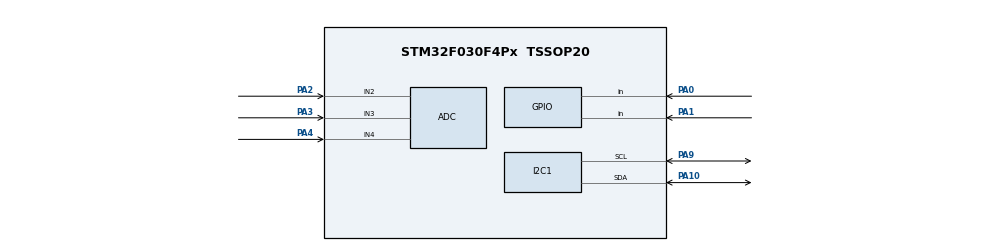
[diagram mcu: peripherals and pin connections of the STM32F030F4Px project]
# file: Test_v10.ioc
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ADC.ContinuousConvMode=ENABLE
ADC.DMAContinuousRequests=ENABLE
ADC.EOCSelection=ADC_EOC_SEQ_CONV
ADC.EnableAnalogWatchDog=false
ADC.SamplingTime=ADC_SAMPLETIME_239CYCLES_5
Dma.ADC.0.Direction=DMA_PERIPH_TO_MEMORY
Dma.ADC.0.Instance=DMA1_Channel1
Dma.ADC.0.MemDataAlignment=DMA_MDATAALIGN_HALFWORD
Dma.ADC.0.MemInc=DMA_MINC_ENABLE
Dma.ADC.0.Mode=DMA_CIRCULAR
Dma.ADC.0.PeriphDataAlignment=DMA_PDATAALIGN_HALFWORD
Dma.ADC.0.PeriphInc=DMA_PINC_DISABLE
Dma.ADC.0.Priority=DMA_PRIORITY_LOW
Dma.Request0=ADC
I2C1.OwnAddress=0x12
I2C1.Timing=0x00201D2B
Mcu.Family=STM32F0
Mcu.Name=STM32F030F4Px
Mcu.Package=TSSOP20
NVIC.ADC1_IRQn=true\:0\:0\:false\:false\:true\:true\:true\:true
NVIC.DMA1_Channel1_IRQn=true\:0\:0\:false\:false\:true\:false\:true\:true
NVIC.I2C1_IRQn=true\:0\:0\:false\:false\:true\:true\:true\:true
PA0.Signal=GPIO_Input
PA1.Signal=GPIO_Input
PA10.Mode=I2C
PA10.Signal=I2C1_SDA
PA2.Mode=IN2
PA2.Signal=ADC_IN2
PA3.Mode=IN3
PA3.Signal=ADC_IN3
PA4.Mode=IN4
PA4.Signal=ADC_IN4
PA9.Mode=I2C
PA9.Signal=I2C1_SCL
ProjectManager.HeapSize=0x200
ProjectManager.StackSize=0x400
ProjectManager.TargetToolchain=STM32CubeIDE
VP_ADC_Vref_Input.Mode=IN-Vrefint
board=custom

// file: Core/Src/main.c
/* USER CODE BEGIN Header */
/**
  ******************************************************************************
  * @file           : main.c
  * @brief          : Main program body
  ******************************************************************************
  * @attention
  *
  * Copyright (c) 2026 STMicroelectronics.
  * All rights reserved.
  *
  * This software is licensed under terms that can be found in the LICENSE file
  * in the root directory of this software component.
  * If no LICENSE file comes with this software, it is provided AS-IS.
  *
  ******************************************************************************
  */
/* USER CODE END Header */
#include "main.h"

/* USER CODE BEGIN Includes */
#include "i2c_slave.h"

/* USER CODE END Includes */

ADC_HandleTypeDef hadc;

DMA_HandleTypeDef hdma_adc;

I2C_HandleTypeDef hi2c1;

void SystemClock_Config(void);
static void MX_GPIO_Init(void);
static void MX_DMA_Init(void);
static void MX_ADC_Init(void);
static void MX_I2C1_Init(void);

/* USER CODE BEGIN 0 */

uint16_t ADC_buffer[4];

uint16_t Temp, Voltage,Current, Temp1, Voltage1,Current1;

const uint16_t temp_5bit[33] = {
		0,12994,10214,8710,7680,6893,6254,5711,5236,4812,4425,4068,3733,3415,3112,2819,2534,2254,1978,1702,1425,1143,856,558,246,-85,-443,-840,-1292,-1834,-2537,-3616,0
};

const uint16_t current_5bit[33] = {
		0,52,103,155,206,258,309,361,413,464,516,567,619,670,722,773,825,877,928,980,1031,1083,1134,1186,1238,1289,1341,1392,1444,1495,1547,1598,1650

 // giá trị 12-bit đã được scale sẵn
};

const uint16_t voltage_5bit[33] = {
		0,113,227,340,454,567,681,794,908,1021,1134,1248,1361,1475,1588,1702,1815,1928,2042,2155,2269,2382,2496,2609,2723,2836,2949,3063,3176,3290,3403,3517,3630
 // giá trị 12-bit đã được scale sẵn
};

uint16_t lookup_interpolated(const uint16_t *table, uint16_t index_12bit) {
    uint8_t i = index_12bit >> 7;        // Lấy 5 bit cao
    uint8_t f = index_12bit & 0b000001111111;       // Lấy 7 bit thấp

    uint16_t y0 = table[i];
    uint16_t y1 = table[i + 1];

    return y0 + (uint16_t)(((int32_t)(y1 - y0) * f) >> 7);
}
//Cách dùng

/* USER CODE END 0 */

int main(void)
{

  /* MCU Configuration--------------------------------------------------------*/

  /* Reset of all peripherals, Initializes the Flash interface and the Systick. */
  HAL_Init();

  /* Configure the system clock */
  SystemClock_Config();

  /* Initialize all configured peripherals */
  MX_GPIO_Init();
  MX_DMA_Init();
  MX_ADC_Init();
  HAL_ADCEx_Calibration_Start(&hadc);
  MX_I2C1_Init();
  /* USER CODE BEGIN 2 */
  if (HAL_I2C_EnableListen_IT(&hi2c1) != HAL_OK){
	  Error_Handler();
  }

  HAL_ADC_Start_DMA(&hadc, (uint32_t *)ADC_buffer, 4);

  /* USER CODE END 2 */

  /* Infinite loop */
  /* USER CODE BEGIN WHILE */
  while (1)
  {

	  uint16_t raw_v = ADC_buffer[0];
	  uint16_t raw_t = ADC_buffer[1];

	  uint32_t sum = 0;
	  for (int i = 0; i < 100; i++) {
		  for(int i = 0; i < 400; i++) {
		      __NOP();
		  }
		  sum += ADC_buffer[2];
	  }
	  uint16_t raw_i = (uint16_t)(sum / 100);

	  // scale trước hoặc sau lookup đều được (tùy logic bạn)
	  uint16_t scaled_v = (uint32_t)raw_v * 1489/43*44  /ADC_buffer[3];

	  uint16_t scaled_t = (uint32_t)raw_t * 1489 / ADC_buffer[3];
	  uint16_t scaled_i = (uint32_t)raw_i * 1489/14*13/ ADC_buffer[3];

	  Voltage = lookup_interpolated(voltage_5bit, scaled_v);
	  Temp    = lookup_interpolated(temp_5bit, scaled_t);
	  Current = lookup_interpolated(current_5bit, scaled_i);

	  static uint8_t myData[7];

	   myData[0] = Voltage >> 8;
	   myData[1] = Voltage & 0xFF;
	   myData[2] = Current >> 8;
	   myData[3] = Current & 0xFF;
	   myData[4] = Temp >> 8;
	   myData[5] = Temp & 0xFF;

	   myData[6] = myData[0]^myData[1]^myData[2]^myData[3]^myData[4]^myData[5];

	   I2C_SetTxData(myData);
	   HAL_Delay(10);
    /* USER CODE END WHILE */

  }
}

void SystemClock_Config(void)
{
  RCC_OscInitTypeDef RCC_OscInitStruct = {0};
  RCC_ClkInitTypeDef RCC_ClkInitStruct = {0};
  RCC_PeriphCLKInitTypeDef PeriphClkInit = {0};

  /** Initializes the RCC Oscillators according to the specified parameters
  * in the RCC_OscInitTypeDef structure.
  */
  RCC_OscInitStruct.OscillatorType = RCC_OSCILLATORTYPE_HSI|RCC_OSCILLATORTYPE_HSI14;
  RCC_OscInitStruct.HSIState = RCC_HSI_ON;
  RCC_OscInitStruct.HSI14State = RCC_HSI14_ON;
  RCC_OscInitStruct.HSICalibrationValue = RCC_HSICALIBRATION_DEFAULT;
  RCC_OscInitStruct.HSI14CalibrationValue = 16;
  RCC_OscInitStruct.PLL.PLLState = RCC_PLL_NONE;
  if (HAL_RCC_OscConfig(&RCC_OscInitStruct) != HAL_OK)
  {
    Error_Handler();
  }

  /** Initializes the CPU, AHB and APB buses clocks
  */
  RCC_ClkInitStruct.ClockType = RCC_CLOCKTYPE_HCLK|RCC_CLOCKTYPE_SYSCLK
                              |RCC_CLOCKTYPE_PCLK1;
  RCC_ClkInitStruct.SYSCLKSource = RCC_SYSCLKSOURCE_HSI;
  RCC_ClkInitStruct.AHBCLKDivider = RCC_SYSCLK_DIV1;
  RCC_ClkInitStruct.APB1CLKDivider = RCC_HCLK_DIV1;

  if (HAL_RCC_ClockConfig(&RCC_ClkInitStruct, FLASH_LATENCY_0) != HAL_OK)
  {
    Error_Handler();
  }
  PeriphClkInit.PeriphClockSelection = RCC_PERIPHCLK_I2C1;
  PeriphClkInit.I2c1ClockSelection = RCC_I2C1CLKSOURCE_HSI;
  if (HAL_RCCEx_PeriphCLKConfig(&PeriphClkInit) != HAL_OK)
  {
    Error_Handler();
  }
}

static void MX_ADC_Init(void)
{

  ADC_ChannelConfTypeDef sConfig = {0};

  /** Configure the global features of the ADC (Clock, Resolution, Data Alignment and number of conversion)
  */
  hadc.Instance = ADC1;
  hadc.Init.ClockPrescaler = ADC_CLOCK_ASYNC_DIV1;
  hadc.Init.Resolution = ADC_RESOLUTION_12B;
  hadc.Init.DataAlign = ADC_DATAALIGN_RIGHT;
  hadc.Init.ScanConvMode = ADC_SCAN_DIRECTION_FORWARD;
  hadc.Init.EOCSelection = ADC_EOC_SEQ_CONV;
  hadc.Init.LowPowerAutoWait = DISABLE;
  hadc.Init.LowPowerAutoPowerOff = DISABLE;
  hadc.Init.ContinuousConvMode = ENABLE;
  hadc.Init.DiscontinuousConvMode = DISABLE;
  hadc.Init.ExternalTrigConv = ADC_SOFTWARE_START;
  hadc.Init.ExternalTrigConvEdge = ADC_EXTERNALTRIGCONVEDGE_NONE;
  hadc.Init.DMAContinuousRequests = ENABLE;
  hadc.Init.Overrun = ADC_OVR_DATA_PRESERVED;
  if (HAL_ADC_Init(&hadc) != HAL_OK)
  {
    Error_Handler();
  }

  /** Configure for the selected ADC regular channel to be converted.
  */
  sConfig.Channel = ADC_CHANNEL_2;
  sConfig.Rank = ADC_RANK_CHANNEL_NUMBER;
  sConfig.SamplingTime = ADC_SAMPLETIME_239CYCLES_5;
  if (HAL_ADC_ConfigChannel(&hadc, &sConfig) != HAL_OK)
  {
    Error_Handler();
  }

  /** Configure for the selected ADC regular channel to be converted.
  */
  sConfig.Channel = ADC_CHANNEL_3;
  if (HAL_ADC_ConfigChannel(&hadc, &sConfig) != HAL_OK)
  {
    Error_Handler();
  }

  /** Configure for the selected ADC regular channel to be converted.
  */
  sConfig.Channel = ADC_CHANNEL_4;
  if (HAL_ADC_ConfigChannel(&hadc, &sConfig) != HAL_OK)
  {
    Error_Handler();
  }

  /** Configure for the selected ADC regular channel to be converted.
  */
  sConfig.Channel = ADC_CHANNEL_VREFINT;
  if (HAL_ADC_ConfigChannel(&hadc, &sConfig) != HAL_OK)
  {
    Error_Handler();
  }

}

static void MX_I2C1_Init(void)
{

  hi2c1.Instance = I2C1;
  hi2c1.Init.Timing = 0x00201D2B;
  hi2c1.Init.OwnAddress1 = 36;
  hi2c1.Init.AddressingMode = I2C_ADDRESSINGMODE_7BIT;
  hi2c1.Init.DualAddressMode = I2C_DUALADDRESS_DISABLE;
  hi2c1.Init.OwnAddress2 = 0;
  hi2c1.Init.OwnAddress2Masks = I2C_OA2_NOMASK;
  hi2c1.Init.GeneralCallMode = I2C_GENERALCALL_DISABLE;
  hi2c1.Init.NoStretchMode = I2C_NOSTRETCH_DISABLE;
  if (HAL_I2C_Init(&hi2c1) != HAL_OK)
  {
    Error_Handler();
  }

  /** Configure Analogue filter
  */
  if (HAL_I2CEx_ConfigAnalogFilter(&hi2c1, I2C_ANALOGFILTER_ENABLE) != HAL_OK)
  {
    Error_Handler();
  }

  /** Configure Digital filter
  */
  if (HAL_I2CEx_ConfigDigitalFilter(&hi2c1, 0) != HAL_OK)
  {
    Error_Handler();
  }

}

static void MX_DMA_Init(void)
{

  /* DMA controller clock enable */
  __HAL_RCC_DMA1_CLK_ENABLE();

  /* DMA interrupt init */
  /* DMA1_Channel1_IRQn interrupt configuration */
  HAL_NVIC_SetPriority(DMA1_Channel1_IRQn, 0, 0);
  HAL_NVIC_EnableIRQ(DMA1_Channel1_IRQn);

}

static void MX_GPIO_Init(void)
{
  GPIO_InitTypeDef GPIO_InitStruct = {0};

  /* GPIO Ports Clock Enable */
  __HAL_RCC_GPIOA_CLK_ENABLE();

  /*Configure GPIO pins : PA0 PA1 */
  GPIO_InitStruct.Pin = GPIO_PIN_0|GPIO_PIN_1;
  GPIO_InitStruct.Mode = GPIO_MODE_INPUT;
  GPIO_InitStruct.Pull = GPIO_NOPULL;
  HAL_GPIO_Init(GPIOA, &GPIO_InitStruct);

}

void Error_Handler(void)
{
  __disable_irq();
  while (1)
  {
  }
}
